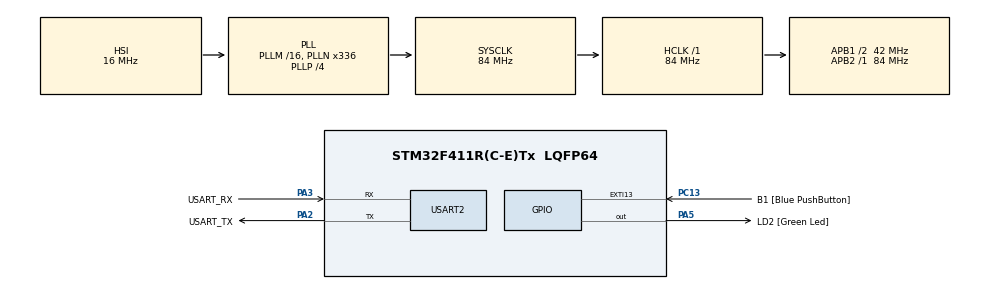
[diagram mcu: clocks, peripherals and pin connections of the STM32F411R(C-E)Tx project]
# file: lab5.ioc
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Mcu.Family=STM32F4
Mcu.Name=STM32F411R(C-E)Tx
Mcu.Package=LQFP64
NVIC.PriorityGroup=NVIC_PRIORITYGROUP_0
NVIC.USART2_IRQn=true\:0\:0\:false\:false\:true\:true\:true\:true
PA13.GPIO_Label=TMS
PA13.Mode=Serial_Wire
PA13.Signal=SYS_JTMS-SWDIO
PA14.GPIO_Label=TCK
PA14.Mode=Serial_Wire
PA14.Signal=SYS_JTCK-SWCLK
PA2.GPIO_Label=USART_TX
PA2.Mode=Asynchronous
PA2.Signal=USART2_TX
PA3.GPIO_Label=USART_RX
PA3.Mode=Asynchronous
PA3.Signal=USART2_RX
PA5.GPIO_Label=LD2 [Green Led]
PA5.Signal=GPIO_Output
PB3.GPIO_Label=SWO
PB3.Signal=SYS_JTDO-SWO
PC13-ANTI_TAMP.GPIO_Label=B1 [Blue PushButton]
PC13-ANTI_TAMP.GPIO_ModeDefaultEXTI=GPIO_MODE_IT_FALLING
PC13-ANTI_TAMP.Signal=GPXTI13
PC14-OSC32_IN.Mode=LSE-External-Oscillator
PC14-OSC32_IN.Signal=RCC_OSC32_IN
PC15-OSC32_OUT.Mode=LSE-External-Oscillator
PC15-OSC32_OUT.Signal=RCC_OSC32_OUT
PH0\ -\ OSC_IN.Mode=HSE-External-Clock-Source
PH0\ -\ OSC_IN.Signal=RCC_OSC_IN
PH1\ -\ OSC_OUT.Mode=HSE-External-Clock-Source
PH1\ -\ OSC_OUT.Signal=RCC_OSC_OUT
ProjectManager.HeapSize=0x200
ProjectManager.StackSize=0x400
ProjectManager.TargetToolchain=STM32CubeIDE
RCC.48MHZClocksFreq_Value=84000000
RCC.AHBFreq_Value=84000000
RCC.APB1CLKDivider=RCC_HCLK_DIV2
RCC.APB1Freq_Value=42000000
RCC.APB1TimFreq_Value=84000000
RCC.APB2Freq_Value=84000000
RCC.APB2TimFreq_Value=84000000
RCC.CortexFreq_Value=84000000
RCC.FLatency-AdvancedSettings=FLASH_LATENCY_2
RCC.HCLKFreq_Value=84000000
RCC.HSE_VALUE=8000000
RCC.HSI_VALUE=16000000
RCC.PLLN=336
RCC.PLLP=RCC_PLLP_DIV4
RCC.SYSCLKFreq_VALUE=84000000
RCC.SYSCLKSource=RCC_SYSCLKSOURCE_PLLCLK
RCC.VCOOutputFreq_Value=336000000
USART2.VirtualMode=VM_ASYNC
board=NUCLEO-F411RE

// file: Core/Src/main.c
/* USER CODE BEGIN Header */
/**
  ******************************************************************************
  * @file           : main.c
  * @brief          : Main program body
  ******************************************************************************
  * @attention
  *
  * Copyright (c) 2023 STMicroelectronics.
  * All rights reserved.
  *
  * This software is licensed under terms that can be found in the LICENSE file
  * in the root directory of this software component.
  * If no LICENSE file comes with this software, it is provided AS-IS.
  *
  ******************************************************************************
  */
/* USER CODE END Header */
#include "main.h"

/* USER CODE BEGIN Includes */
#include "stdio.h"
#include "string.h"
/* USER CODE END Includes */

UART_HandleTypeDef huart2;

/* USER CODE BEGIN PV */
uint8_t RxBuffer[20];
uint8_t TxBuffer[100];
int LEDsetHz = 1;
uint8_t Mode = 10;
uint8_t On = 0;
uint8_t nowblue;
/* USER CODE END PV */

void SystemClock_Config(void);
static void MX_GPIO_Init(void);
static void MX_USART2_UART_Init(void);
/* USER CODE BEGIN PFP */
void DummyTask();
void UARTInterrupConfig();
void HAL_UART_RxCpltCallback();
/* USER CODE END PFP */

int main(void)
{

  /* MCU Configuration--------------------------------------------------------*/

  /* Reset of all peripherals, Initializes the Flash interface and the Systick. */
  HAL_Init();

  /* Configure the system clock */
  SystemClock_Config();

  /* Initialize all configured peripherals */
  MX_GPIO_Init();
  MX_USART2_UART_Init();
  /* USER CODE BEGIN 2 */
  uint8_t text[] = "HELLO FIBO \n";
  HAL_UART_Transmit(&huart2, text, 11, 10);

  UARTInterrupConfig();
  /* USER CODE END 2 */

  /* Infinite loop */
  while (1)
  {

    /* USER CODE BEGIN 3 */
	  DummyTask();
	  //HAL_GPIO_TogglePin(GPIOA, GPIO_PIN_0);
  }
  /* USER CODE END 3 */
}

void SystemClock_Config(void)
{
  RCC_OscInitTypeDef RCC_OscInitStruct = {0};
  RCC_ClkInitTypeDef RCC_ClkInitStruct = {0};

  /** Configure the main internal regulator output voltage
  */
  __HAL_RCC_PWR_CLK_ENABLE();
  __HAL_PWR_VOLTAGESCALING_CONFIG(PWR_REGULATOR_VOLTAGE_SCALE1);

  /** Initializes the RCC Oscillators according to the specified parameters
  * in the RCC_OscInitTypeDef structure.
  */
  RCC_OscInitStruct.OscillatorType = RCC_OSCILLATORTYPE_HSI;
  RCC_OscInitStruct.HSIState = RCC_HSI_ON;
  RCC_OscInitStruct.HSICalibrationValue = RCC_HSICALIBRATION_DEFAULT;
  RCC_OscInitStruct.PLL.PLLState = RCC_PLL_ON;
  RCC_OscInitStruct.PLL.PLLSource = RCC_PLLSOURCE_HSI;
  RCC_OscInitStruct.PLL.PLLM = 16;
  RCC_OscInitStruct.PLL.PLLN = 336;
  RCC_OscInitStruct.PLL.PLLP = RCC_PLLP_DIV4;
  RCC_OscInitStruct.PLL.PLLQ = 4;
  if (HAL_RCC_OscConfig(&RCC_OscInitStruct) != HAL_OK)
  {
    Error_Handler();
  }

  /** Initializes the CPU, AHB and APB buses clocks
  */
  RCC_ClkInitStruct.ClockType = RCC_CLOCKTYPE_HCLK|RCC_CLOCKTYPE_SYSCLK
                              |RCC_CLOCKTYPE_PCLK1|RCC_CLOCKTYPE_PCLK2;
  RCC_ClkInitStruct.SYSCLKSource = RCC_SYSCLKSOURCE_PLLCLK;
  RCC_ClkInitStruct.AHBCLKDivider = RCC_SYSCLK_DIV1;
  RCC_ClkInitStruct.APB1CLKDivider = RCC_HCLK_DIV2;
  RCC_ClkInitStruct.APB2CLKDivider = RCC_HCLK_DIV1;

  if (HAL_RCC_ClockConfig(&RCC_ClkInitStruct, FLASH_LATENCY_2) != HAL_OK)
  {
    Error_Handler();
  }
}

static void MX_USART2_UART_Init(void)
{

  huart2.Instance = USART2;
  huart2.Init.BaudRate = 115200;
  huart2.Init.WordLength = UART_WORDLENGTH_8B;
  huart2.Init.StopBits = UART_STOPBITS_1;
  huart2.Init.Parity = UART_PARITY_NONE;
  huart2.Init.Mode = UART_MODE_TX_RX;
  huart2.Init.HwFlowCtl = UART_HWCONTROL_NONE;
  huart2.Init.OverSampling = UART_OVERSAMPLING_16;
  if (HAL_UART_Init(&huart2) != HAL_OK)
  {
    Error_Handler();
  }

}

static void MX_GPIO_Init(void)
{
  GPIO_InitTypeDef GPIO_InitStruct = {0};

  /* GPIO Ports Clock Enable */
  __HAL_RCC_GPIOC_CLK_ENABLE();
  __HAL_RCC_GPIOH_CLK_ENABLE();
  __HAL_RCC_GPIOA_CLK_ENABLE();
  __HAL_RCC_GPIOB_CLK_ENABLE();

  /*Configure GPIO pin Output Level */
  HAL_GPIO_WritePin(LD2_GPIO_Port, LD2_Pin, GPIO_PIN_RESET);

  /*Configure GPIO pin : B1_Pin */
  GPIO_InitStruct.Pin = B1_Pin;
  GPIO_InitStruct.Mode = GPIO_MODE_IT_FALLING;
  GPIO_InitStruct.Pull = GPIO_NOPULL;
  HAL_GPIO_Init(B1_GPIO_Port, &GPIO_InitStruct);

  /*Configure GPIO pin : LD2_Pin */
  GPIO_InitStruct.Pin = LD2_Pin;
  GPIO_InitStruct.Mode = GPIO_MODE_OUTPUT_PP;
  GPIO_InitStruct.Pull = GPIO_NOPULL;
  GPIO_InitStruct.Speed = GPIO_SPEED_FREQ_LOW;
  HAL_GPIO_Init(LD2_GPIO_Port, &GPIO_InitStruct);

}

/* USER CODE BEGIN 4 */
void UARTInterrupConfig()
{
	HAL_UART_Receive_IT(&huart2, RxBuffer, 1);
}
void HAL_UART_RxCpltCallback(UART_HandleTypeDef *huart)
{
	//test
	if(Mode == 1)
		{
			if(RxBuffer[0] == 97) //speed up 1 Hz
			{
				LEDsetHz ++;
				sprintf((char*)TxBuffer,"Received : %s\r\n"
										"LED Speed %d Hz.\r\n",RxBuffer,LEDsetHz);
				HAL_UART_Transmit_IT(&huart2, TxBuffer, strlen((char*)TxBuffer));
			}
			else if(RxBuffer[0] == 115) //speed down 1 Hz
			{
				LEDsetHz --;
				sprintf((char*)TxBuffer,"Received : %s\r\n"
										"LED Speed %d Hz.\r\n",RxBuffer,LEDsetHz);
				HAL_UART_Transmit_IT(&huart2, TxBuffer, strlen((char*)TxBuffer));
			}
			else if(RxBuffer[0] == 100) //On / off
			{
				if(On == 1)
				{
					On = 0;
					sprintf((char*)TxBuffer,"Received : %s\r\n"
											"LED Off.\r\n",RxBuffer);
					HAL_UART_Transmit_IT(&huart2, TxBuffer, strlen((char*)TxBuffer));
				}
				else
				{
					On = 1;
					sprintf((char*)TxBuffer,"Received : %s\r\n"
											"LED On.\r\n",RxBuffer);
					HAL_UART_Transmit_IT(&huart2, TxBuffer, strlen((char*)TxBuffer));
				}
			}
			else if(RxBuffer[0] == 120) //back
			{
				Mode = 10;
				sprintf((char*)TxBuffer,"Received : %s\r\n"
										"Choose mode 1 or 2.\r\n",RxBuffer);
				HAL_UART_Transmit_IT(&huart2, TxBuffer, strlen((char*)TxBuffer));
			}
			else
			{
				sprintf((char*)TxBuffer,"Received : %s\r\n"
										"No command, please try again.\r\n",RxBuffer);
				HAL_UART_Transmit_IT(&huart2, TxBuffer, strlen((char*)TxBuffer));
			}
		}
	else if (Mode == 2)
		{
			if(RxBuffer[0] == 120) //speed up 1 Hz
			{
				Mode = 10;
				sprintf((char*)TxBuffer,"Received : %s\r\n"
										"Choose mode 1 or 2.\r\n",RxBuffer);
				HAL_UART_Transmit_IT(&huart2, TxBuffer, strlen((char*)TxBuffer));
			}
			else
			{
				sprintf((char*)TxBuffer,"Received : %s\r\n"
										"No command, please try again.\r\n",RxBuffer);
				HAL_UART_Transmit_IT(&huart2, TxBuffer, strlen((char*)TxBuffer));
			}
		}
	else if(RxBuffer[0] == 48)
	{
		Mode = 1;
		sprintf((char*)TxBuffer,"Received : %s\r\n"
								"a : Speed Up +1 Hz\r\n"
								"s : Speed Down +1 Hz\r\n"
								"d : On / Off\r\n"
								"x : Back\r\n",RxBuffer);
		HAL_UART_Transmit_IT(&huart2, TxBuffer, strlen((char*)TxBuffer));

	}
	else if(RxBuffer[0] == 49)
	{
		Mode = 2;
		if(nowblue == 0)
		{
			sprintf((char*)TxBuffer,"Received : %s\r\n"
									"x : Back\r\n Blue button in press.\r\n",RxBuffer);
			HAL_UART_Transmit_IT(&huart2, TxBuffer, strlen((char*)TxBuffer));
		}
		else
		{
			sprintf((char*)TxBuffer,"Received : %s\r\n"
									"x : Back\r\n Blue button in unpress.\r\n",RxBuffer);
			HAL_UART_Transmit_IT(&huart2, TxBuffer, strlen((char*)TxBuffer));
		}

	}
	if(huart == &huart2)
	{
		RxBuffer[10] = '\0';
		HAL_UART_Receive_IT(&huart2, RxBuffer, 1);
	}
}
void DummyTask()
{
	static uint32_t timestamp = 0;
	if(HAL_GetTick() >= timestamp)
	{
		timestamp = HAL_GetTick()+(1000/LEDsetHz);
		if( On == 1)
		{
			HAL_GPIO_TogglePin(LD2_GPIO_Port, LD2_Pin);
		}
		else
		{
			HAL_GPIO_WritePin(LD2_GPIO_Port, LD2_Pin, 0);
		}
	}
	if(HAL_GetTick() >= timestamp)
	{
		timestamp = HAL_GetTick()+100;
		nowblue = HAL_GPIO_ReadPin(GPIOC, GPIO_PIN_13);
	}
}
/* USER CODE END 4 */

void Error_Handler(void)
{
  __disable_irq();
  while (1)
  {
  }
}
